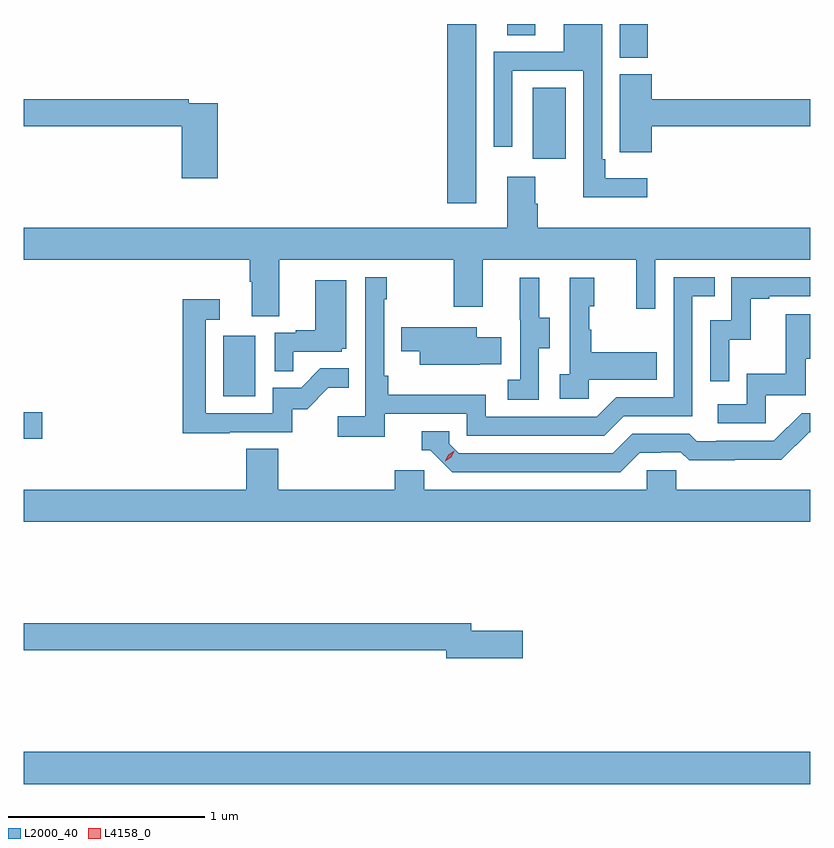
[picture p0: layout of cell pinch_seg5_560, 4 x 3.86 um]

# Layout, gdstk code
import gdstk
lib = gdstk.Library(unit=1e-6, precision=1e-09)
def R(c, l, rs):  # rectangles x0, y0, x1, y1
    for r in rs: c.add(gdstk.rectangle(r[:2], r[2:], *l))
def P(c, l, *ps):  # polygons
    for p in ps: c.add(gdstk.Polygon(p, *l))
L2000_40 = (2000, 40)
L4158_0 = (4158, 0)

pinch_seg5_560 = lib.new_cell('pinch_seg5_560')
R(pinch_seg5_560, L2000_40, [(963.284,843.44,967.284,843.604), (963.284,845.195,963.379,845.33), (964.298,845.412,964.462,845.719), (965.438,846.393,965.584,847.303), (965.873,846.618,966.04,846.98), (966.314,847.132,966.458,847.303), (965.744,847.246,965.884,847.303)])
P(pinch_seg5_560, L2000_40, [(966.454,846.52),(966.241,846.52),(966.241,846.616),(966.225,846.616),(966.225,847.303),(966.029,847.303),(966.029,847.161),(965.673,847.161),(965.673,846.678),(965.769,846.678),(965.769,847.065),(966.129,847.065),(966.129,846.422),(966.454,846.422)],
  [(966.476,846.784),(967.284,846.784),(967.284,846.92),(966.476,846.92),(966.476,847.047),(966.314,847.047),(966.314,846.763),(966.315,846.763),(966.315,846.651),(966.476,846.651)],
  [(964.271,846.9),(964.124,846.9),(964.124,846.92),(963.284,846.92),(963.284,846.784),(964.088,846.784),(964.088,846.519),(964.271,846.519)],
  [(964.585,846.104),(965.47,846.104),(965.47,845.865),(965.617,845.865),(965.617,846.104),(966.398,846.104),(966.398,845.856),(966.495,845.856),(966.495,846.104),(967.284,846.104),(967.284,846.268),(965.897,846.268),(965.897,846.389),(965.884,846.389),(965.884,846.526),(965.744,846.526),(965.744,846.268),(963.284,846.268),(963.284,846.104),(964.433,846.104),(964.433,845.992),(964.445,845.992),(964.445,845.818),(964.585,845.818)],
  [(965.12,845.322),(965.538,845.322),(965.538,845.211),(966.235,845.211),(966.334,845.31),(966.684,845.31),(966.684,845.919),(966.797,845.919),(966.797,846.015),(966.588,846.015),(966.588,845.406),(966.297,845.406),(966.198,845.307),(965.634,845.307),(965.634,845.419),(965.138,845.419),(965.138,845.515),(965.118,845.515),(965.118,845.903),(965.131,845.903),(965.131,846.016),(965.022,846.016),(965.022,845.308),(964.881,845.308),(964.881,845.206),(965.12,845.206)],
  [(966.87,845.699),(966.98,845.699),(966.98,845.907),(967.075,845.907),(967.075,845.919),(967.284,845.919),(967.284,846.015),(966.882,846.015),(966.882,845.796),(966.774,845.796),(966.774,845.487),(966.87,845.487)],
  [(966.156,845.495),(966.503,845.495),(966.503,845.635),(966.169,845.635),(966.169,845.75),(966.159,845.75),(966.159,845.868),(966.184,845.868),(966.184,846.013),(966.06,846.013),(966.06,845.522),(966.009,845.522),(966.009,845.397),(966.156,845.397)],
  [(965.904,845.656),(965.959,845.656),(965.959,845.811),(965.905,845.811),(965.905,846.013),(965.807,846.013),(965.807,845.799),(965.808,845.799),(965.808,845.495),(965.745,845.495),(965.745,845.392),(965.904,845.392)],
  [(964.655,845.637),(964.902,845.637),(964.902,845.652),(964.924,845.652),(964.924,846.001),(964.766,846.001),(964.766,845.746),(964.667,845.746),(964.667,845.733),(964.56,845.733),(964.56,845.539),(964.655,845.539)],
  [(964.331,845.229),(964.65,845.229),(964.65,845.346),(964.726,845.346),(964.833,845.453),(964.937,845.453),(964.937,845.552),(964.793,845.552),(964.695,845.454),(964.551,845.454),(964.551,845.325),(964.209,845.325),(964.209,845.799),(964.282,845.799),(964.282,845.905),(964.093,845.905),(964.093,845.224),(964.331,845.224)],
  [(967.056,845.415),(967.261,845.415),(967.261,845.601),(967.284,845.601),(967.284,845.827),(967.159,845.827),(967.159,845.524),(966.96,845.524),(966.96,845.37),(966.813,845.37),(966.813,845.274),(967.056,845.274)],
  [(965.603,845.573),(965.711,845.573),(965.711,845.71),(965.587,845.71),(965.587,845.761),(965.203,845.761),(965.203,845.639),(965.297,845.639),(965.297,845.57),(965.603,845.57)],
  [(966.415,845.124),(966.522,845.124),(966.522,845.127),(966.625,845.127),(966.667,845.085),(966.9,845.085),(966.9,845.087),(967.136,845.087),(967.278,845.229),(967.284,845.229),(967.284,845.325),(967.239,845.325),(967.098,845.184),(966.805,845.184),(966.805,845.181),(966.706,845.181),(966.667,845.22),(966.378,845.22),(966.279,845.121),(965.496,845.121),(965.448,845.169),(965.448,845.232),(965.309,845.232),(965.309,845.136),(965.352,845.136),(965.463,845.025),(966.316,845.025)],
  [(967.284,844.936),(966.603,844.936),(966.603,845.034),(966.453,845.034),(966.453,844.936),(965.322,844.936),(965.322,845.034),(965.171,845.034),(965.171,844.936),(964.58,844.936),(964.58,845.144),(964.415,845.144),(964.415,844.936),(963.284,844.936),(963.284,844.772),(967.284,844.772)],
  [(965.821,844.22),(965.56,844.22),(965.56,844.256),(963.284,844.256),(963.284,844.12),(965.432,844.12),(965.432,844.078),(965.821,844.078)])
P(pinch_seg5_560, L4158_0, [(965.428,845.08),(965.428,845.081),(965.443,845.114),(965.474,845.133),(965.474,845.133),(965.474,845.133),(965.458,845.1),(965.428,845.08)])

lib.write_gds('pinch_seg5_560.gds')
